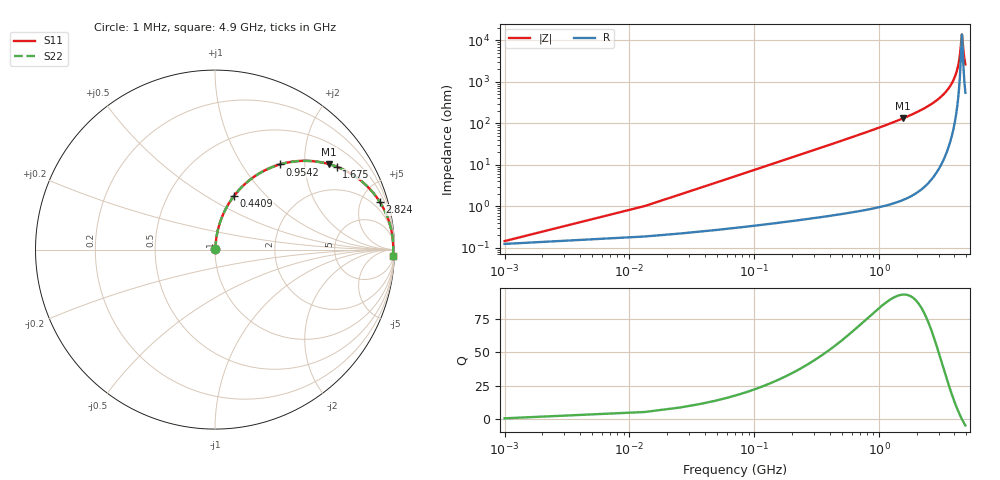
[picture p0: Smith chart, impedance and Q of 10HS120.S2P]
! Coilcraft 1008CS-120 Chip Inductor
! 02 July 2002
# MHZ S MA R 50
!Freq  MagS11  AngS11  MagS21  AngS21  MagS12  AngS12  MagS22  AngS22
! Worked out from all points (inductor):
!   402 points, 1 MHz to 4.9 GHz, reference 50 ohm
!   read as one part in series: L = 12 nH near 25.44 MHz
!   highest Q = 93 at 1.553 GHz (marker M1), where L = 13.5 nH
!   self-resonance near 4.583 GHz
!   S11 on the Smith chart (normalised r, x): 1 MHz: 1.00, +0.00; 440.9 MHz: 1.01, +0.67; 954.2 MHz: 1.02, +1.50; 1.675 GHz: 1.03, +2.91; 2.824 GHz: 1.12, +6.84; 4.9 GHz: 12, -52
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1  0.001449 31.3  0.9988 -0.0  0.9988 -0.0  0.001449 31.3
37.66  0.02842 83.4  0.9971 -1.6  0.9971 -1.6  0.02842 83.4
62.1  0.04673 83.8  0.996 -2.7  0.996 -2.7  0.04673 83.8
98.76  0.07412 83.2  0.9939 -4.2  0.9939 -4.2  0.07412 83.2
159.86  0.1194 81.2  0.9889 -6.9  0.9889 -6.9  0.1194 81.2
233.18  0.1729 78.5  0.9804 -10.0  0.9804 -10.0  0.1729 78.5
440.92  0.3164 70.5  0.9429 -18.4  0.9429 -18.4  0.3164 70.5
819.74  0.5349 56.9  0.8379 -32.3  0.8379 -32.3  0.5349 56.9
954.16  0.5975 52.6  0.7946 -36.7  0.7946 -36.7  0.5975 52.6
1552.94  0.7934 36.9  0.6002 -52.5  0.6002 -52.5  0.7934 36.9
1638.48  0.8126 35.0  0.5741 -54.3  0.5741 -54.3  0.8126 35.0
1675.14  0.8203 34.3  0.5631 -55.1  0.5631 -55.1  0.8203 34.3
2457.22  0.9288 21.0  0.358 -68.2  0.358 -68.2  0.9288 21.0
2823.82  0.9554 16.2  0.2793 -72.8  0.2793 -72.8  0.9554 16.2
3275.96  0.9758 11.2  0.1943 -77.3  0.1943 -77.3  0.9758 11.2
3752.54  0.9876 6.7  0.1164 -80.5  0.1164 -80.5  0.9876 6.7
4094.7  0.9916 3.8  0.06643 -80.9  0.06643 -80.9  0.9916 3.8
4375.76  0.9929 1.6  0.02885 -75.0  0.02885 -75.0  0.9929 1.6
4559.06  0.9929 0.3  0.008394 -32.4  0.008394 -32.4  0.9929 0.3
4595.72  0.9929 -0.0  0.007138 0.4  0.007138 0.4  0.9929 -0.0
4766.8  0.9923 -1.2  0.02228 69.1  0.02228 69.1  0.9923 -1.2
4900  0.9915 -2.1  0.03757 75.9  0.03757 75.9  0.9915 -2.1
